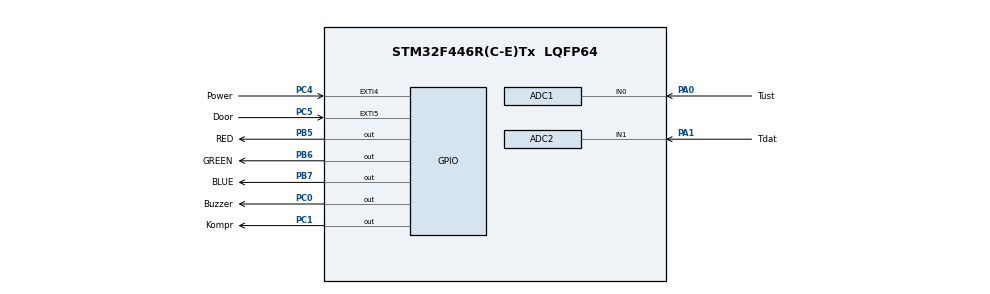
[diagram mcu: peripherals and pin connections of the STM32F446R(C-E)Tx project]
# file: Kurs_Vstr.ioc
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ADC1.Channel-0\#ChannelRegularConversion=ADC_CHANNEL_0
ADC1.NbrOfConversionFlag=1
ADC1.Rank-0\#ChannelRegularConversion=1
ADC1.SamplingTime-0\#ChannelRegularConversion=ADC_SAMPLETIME_3CYCLES
ADC1.master=1
ADC2.Channel-1\#ChannelRegularConversion=ADC_CHANNEL_1
ADC2.NbrOfConversionFlag=1
ADC2.Rank-1\#ChannelRegularConversion=1
ADC2.SamplingTime-1\#ChannelRegularConversion=ADC_SAMPLETIME_3CYCLES
Mcu.Family=STM32F4
Mcu.Name=STM32F446R(C-E)Tx
Mcu.Package=LQFP64
NVIC.ADC_IRQn=true\:0\:0\:false\:false\:true\:true\:true\:true
NVIC.EXTI4_IRQn=true\:0\:0\:false\:false\:true\:true\:true\:true
NVIC.EXTI9_5_IRQn=true\:0\:0\:false\:false\:true\:true\:true\:true
NVIC.PriorityGroup=NVIC_PRIORITYGROUP_4
NVIC.TIM2_IRQn=true\:0\:0\:false\:false\:true\:true\:true\:true
PA0-WKUP.GPIO_Label=Tust
PA0-WKUP.Signal=ADCx_IN0
PA1.GPIO_Label=Tdat
PA1.Signal=ADCx_IN1
PA13.Mode=Serial_Wire
PA13.Signal=SYS_JTMS-SWDIO
PA14.Mode=Serial_Wire
PA14.Signal=SYS_JTCK-SWCLK
PB5.GPIO_Label=RED
PB5.Signal=GPIO_Output
PB6.GPIO_Label=GREEN
PB6.Signal=GPIO_Output
PB7.GPIO_Label=BLUE
PB7.Signal=GPIO_Output
PC0.GPIO_Label=Buzzer
PC0.GPIO_PuPd=GPIO_NOPULL
PC0.Signal=GPIO_Output
PC1.GPIO_Label=Kompr
PC1.Signal=GPIO_Output
PC4.GPIO_Label=Power
PC4.GPIO_PuPd=GPIO_PULLDOWN
PC4.Signal=GPXTI4
PC5.GPIO_Label=Door
PC5.GPIO_PuPd=GPIO_PULLDOWN
PC5.Signal=GPXTI5
PH0-OSC_IN.Mode=HSE-External-Oscillator
PH0-OSC_IN.Signal=RCC_OSC_IN
PH1-OSC_OUT.Mode=HSE-External-Oscillator
PH1-OSC_OUT.Signal=RCC_OSC_OUT
ProjectManager.HeapSize=0x200
ProjectManager.StackSize=0x400
ProjectManager.TargetToolchain=STM32CubeIDE
RCC.CortexFreq_Value=16000000
RCC.USBFreq_Value=96000000
RCC.VCOOutputFreq_Value=192000000
SH.ADCx_IN0.0=ADC1_IN0,IN0
SH.ADCx_IN1.0=ADC2_IN1,IN1
TIM2.Channel-PWM\ Generation1\ No\ Output=TIM_CHANNEL_1
TIM2.Period=320
TIM2.Prescaler=50000
VP_TIM2_VS_no_output1.Mode=PWM Generation1 No Output
board=custom

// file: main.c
/* USER CODE BEGIN Header */
/**
  ******************************************************************************
  * @file           : main.c
  * @brief          : Main program body
  ******************************************************************************
  * @attention
  *
  * Copyright (c) 2024 STMicroelectronics.
  * All rights reserved.
  *
  * This software is licensed under terms that can be found in the LICENSE file
  * in the root directory of this software component.
  * If no LICENSE file comes with this software, it is provided AS-IS.
  *
  ******************************************************************************
  */
/* USER CODE END Header */
#include "main.h"
#include "adc.h"
#include "tim.h"
#include "gpio.h"

/* USER CODE BEGIN Includes */
#include "math.h"
/* USER CODE END Includes */

/* USER CODE BEGIN PV */
int32_t tpr = 0; // время открытой двери
int8_t Tzd = 0; // температура заданная
int8_t Tdt = 0; // температура с датчика
int8_t Tpr = 0; // температура за 10 секунд до проверки
float adc_Tdt = 0; // значение температуры с датчика на момент считывания
float adc_Tzd = 0; // значение заданной температуры на момент считывания
float adc_Tdt1 = 0; // значение температуры с датчика на момент считывания
float adc_Tzd1= 0; // значение заданной температуры на момент считывания
float adc_Tdt_rez = 0; // значение температуры с датчика после преобразования
float adc_Tzd_rez = 0; // значение заданной температуры после преобразования
float middle = 0; // выходное значение с фильтра для заданной температуры
float middle1 = 0; // выходное значение с фильтра для температуры с датчика
int32_t t = 0; // время работы установки
int8_t Kompr = 0; // состояние работы компрессора (0 - не работает, 1 - работает)
int8_t error_state = 0; // состояние ошибки (0 - ошибка отсутствует, 1 - ошибка присутствует)
int8_t door_state = 0; // состояние двери (0 - дверь открыта, 1 - дверь закрыта)
int8_t power_state = 0; // состояние установки (0 - установка выключена, 1 - установка включена)
int8_t prov = 0;
/* USER CODE END PV */

void SystemClock_Config(void);

/* USER CODE BEGIN 0 */
float  med_Tzd(float f) // медианный фильтр для значений с потенциометра для заданной температуры
{
	  static float buffer[3] = {0,0,0};
	  if (buffer[0] == 0 && buffer[1] == 0 && buffer[2] == 0) {
	    for (int i = 0; i < 3; i++) {
	      buffer[i] = f;
	    }
	  }

	  buffer[0] = buffer[1];
	  buffer[1] = buffer[2];
	  buffer[2] = f;

	  float a = buffer[0];
	  float b = buffer[1];
	  float c = buffer[2];
	  if ((a <= b) && (a <= c))
	  {
		  middle = (b <= c) ? b : c;
      }
	  else
	  {
	    if ((b <= a) && (b <= c))
	    {
	    	middle = (a <= c) ? a : c;
	    }
	    else
	    {
	    	middle = (a <= b) ? a : b;
	    }
	  }

	  return middle;
}

float med_Tdt(float f1) // медианный фильтр для значений с потенциометра для температуры с датчика
{
	  static float buffer1[3] = {0,0,0};
	  if (buffer1[0] == 0 && buffer1[1] == 0 && buffer1[2] == 0) {
	    for (int i1 = 0; i1 < 3; i1++) {
	      buffer1[i1] = f1;
	    }
	  }

	  buffer1[0] = buffer1[1];
	  buffer1[1] = buffer1[2];
	  buffer1[2] = f1;

	  float a1 = buffer1[0];
	  float b1 = buffer1[1];
	  float c1 = buffer1[2];
	  if ((a1 <= b1) && (a1 <= c1))
	  {
		  middle1 = (b1 <= c1) ? b1 : c1;
      }
	  else
	  {
	    if ((b1 <= a1) && (b1 <= c1))
	    {
	    	middle1 = (a1 <= c1) ? a1 : c1;
	    }
	    else
	    {
	    	middle1 = (a1 <= b1) ? a1 : b1;
	    }
	  }

	  return middle1;
}

void doorTest(int tpr) { // Проверка состояния открытой двери
	if (tpr > 15) {
	  	HAL_GPIO_WritePin(Buzzer_GPIO_Port, Buzzer_Pin, GPIO_PIN_SET);
	  	HAL_GPIO_WritePin(RED_GPIO_Port, RED_Pin, GPIO_PIN_RESET);
	  	HAL_GPIO_WritePin(GREEN_GPIO_Port, GREEN_Pin, GPIO_PIN_SET);
	  	HAL_GPIO_WritePin(BLUE_GPIO_Port, BLUE_Pin, GPIO_PIN_SET);
	  	Kompr = 0;
	  	HAL_GPIO_WritePin(Kompr_GPIO_Port, Kompr_Pin, GPIO_PIN_RESET);
	}
	else {
		HAL_GPIO_WritePin(RED_GPIO_Port, RED_Pin, GPIO_PIN_RESET);
		HAL_GPIO_WritePin(GREEN_GPIO_Port, GREEN_Pin, GPIO_PIN_SET);
	  	HAL_GPIO_WritePin(BLUE_GPIO_Port, BLUE_Pin, GPIO_PIN_SET);
	}
}

void tempTest(int8_t Tdt, int8_t Tpr) { // Проверка работоспособности датчика температуры
	if (Tdt < -7 || Tdt > 45) {
		error_state = 1;
	}
	if (abs(Tdt - Tpr) > 20 && t % 10 == 0 && t > 10) {
		error_state = 1;
	}
}
/* USER CODE END 0 */

int main(void)
{

  /* MCU Configuration--------------------------------------------------------*/

  /* Reset of all peripherals, Initializes the Flash interface and the Systick. */
  HAL_Init();

  /* Configure the system clock */
  SystemClock_Config();

  /* Initialize all configured peripherals */
  MX_GPIO_Init();
  MX_ADC1_Init();
  MX_ADC2_Init();
  MX_TIM2_Init();
  /* USER CODE BEGIN 2 */
  HAL_TIM_Base_Start_IT(&htim2);
  HAL_ADC_Start_IT(&hadc1);
  HAL_ADC_Start_IT(&hadc2);

  HAL_GPIO_WritePin(RED_GPIO_Port, RED_Pin, GPIO_PIN_RESET);
  HAL_GPIO_WritePin(GREEN_GPIO_Port, GREEN_Pin, GPIO_PIN_RESET);
  HAL_GPIO_WritePin(BLUE_GPIO_Port, BLUE_Pin, GPIO_PIN_RESET);
  HAL_GPIO_WritePin(Buzzer_GPIO_Port, Buzzer_Pin, GPIO_PIN_RESET);
  /* USER CODE END 2 */

  /* Infinite loop */
  /* USER CODE BEGIN WHILE */
  while (1)
  {
	  //power_state = HAL_GPIO_ReadPin(Power_GPIO_Port, Power_Pin);
	  //door_state = HAL_GPIO_ReadPin(Door_GPIO_Port, Door_Pin);

	  if (power_state)
	  {
		  if (error_state)
		  {
			  HAL_GPIO_WritePin(RED_GPIO_Port, RED_Pin, GPIO_PIN_SET);
			  HAL_GPIO_WritePin(GREEN_GPIO_Port, GREEN_Pin, GPIO_PIN_RESET);
			  HAL_GPIO_WritePin(BLUE_GPIO_Port, BLUE_Pin, GPIO_PIN_RESET);

			  HAL_GPIO_WritePin(Buzzer_GPIO_Port, Buzzer_Pin, GPIO_PIN_SET);
			  HAL_GPIO_WritePin(Kompr_GPIO_Port, Kompr_Pin, GPIO_PIN_RESET);
		  }
		  else if (tpr >= 3)
		  {
			  doorTest(tpr);
		  }
		  else if (tpr < 3)
		  {
			  HAL_ADC_Start_IT(&hadc1);
			  HAL_ADC_PollForConversion(&hadc1, 1);
			  adc_Tdt = HAL_ADC_GetValue(&hadc1);
			  adc_Tdt1 = adc_Tdt / 4095 * 60 - 10;
			  adc_Tdt_rez = med_Tdt(adc_Tdt1);
			  Tdt = (int8_t) adc_Tdt_rez;
			  HAL_ADC_Stop_IT(&hadc1);

			  HAL_ADC_Start_IT(&hadc2);
			  HAL_ADC_PollForConversion(&hadc2, 1);
			  adc_Tzd = HAL_ADC_GetValue(&hadc2);
			  adc_Tzd1 = adc_Tzd / 4095 * 60 - 10;
			  adc_Tzd_rez = med_Tzd(adc_Tzd1);
			  Tzd = (int8_t) adc_Tzd_rez;
			  HAL_ADC_Stop_IT(&hadc2);
			  //prov = abs(Tdt - Tzd);
			  if (abs(Tdt - Tzd) <= 2)
			  {
				  Kompr = 0;
				  HAL_GPIO_WritePin(Kompr_GPIO_Port, Kompr_Pin, GPIO_PIN_RESET);
				  HAL_GPIO_WritePin(RED_GPIO_Port, RED_Pin, GPIO_PIN_RESET);
				  HAL_GPIO_WritePin(GREEN_GPIO_Port, GREEN_Pin, GPIO_PIN_SET);
				  HAL_GPIO_WritePin(BLUE_GPIO_Port, BLUE_Pin, GPIO_PIN_RESET);
				  tempTest(Tdt, Tpr);
			  }
			  else if (abs(Tdt - Tzd) > 2)
			  {
				  Kompr = 1;
				  HAL_GPIO_WritePin(RED_GPIO_Port, RED_Pin, GPIO_PIN_RESET);
				  HAL_GPIO_WritePin(GREEN_GPIO_Port, GREEN_Pin, GPIO_PIN_RESET);
				  HAL_GPIO_WritePin(BLUE_GPIO_Port, BLUE_Pin, GPIO_PIN_SET);
				  if (Tdt - Tzd < 0)
				  {
					  HAL_GPIO_WritePin(Kompr_GPIO_Port, Kompr_Pin, GPIO_PIN_RESET);
				  }
				  else
				  {
					  HAL_GPIO_WritePin(Kompr_GPIO_Port, Kompr_Pin, GPIO_PIN_SET);
				  }
				  tempTest(Tdt, Tpr);
			  }
		  }
	  }
	  else
	  {
		  HAL_GPIO_WritePin(RED_GPIO_Port, RED_Pin, GPIO_PIN_RESET);
		  HAL_GPIO_WritePin(GREEN_GPIO_Port, GREEN_Pin, GPIO_PIN_RESET);
		  HAL_GPIO_WritePin(BLUE_GPIO_Port, BLUE_Pin, GPIO_PIN_RESET);
		  HAL_GPIO_WritePin(Buzzer_GPIO_Port, Buzzer_Pin, GPIO_PIN_RESET);
		  HAL_GPIO_WritePin(Kompr_GPIO_Port, Kompr_Pin, GPIO_PIN_RESET);
	  }

	  //if (adc_reg_value > 3200)
	  //{
	   //HAL_GPIO_WritePin(LED1_GPIO_Port, LED1_Pin, GPIO_PIN_SET);
	  // HAL_GPIO_WritePin(LED0_GPIO_Port, LED0_Pin, GPIO_PIN_RESET);
	   //pos = 2;
	  //}
	  //else
	  //{
	  //	HAL_GPIO_WritePin(LED0_GPIO_Port, LED0_Pin, GPIO_PIN_SET);
	  //	HAL_GPIO_WritePin(LED1_GPIO_Port, LED1_Pin, GPIO_PIN_RESET);
	  //	pos = 1;
	  //}
    /* USER CODE END WHILE */

  }
}

void SystemClock_Config(void)
{
  RCC_OscInitTypeDef RCC_OscInitStruct = {0};
  RCC_ClkInitTypeDef RCC_ClkInitStruct = {0};

  /** Configure the main internal regulator output voltage
  */
  __HAL_RCC_PWR_CLK_ENABLE();
  __HAL_PWR_VOLTAGESCALING_CONFIG(PWR_REGULATOR_VOLTAGE_SCALE3);

  /** Initializes the RCC Oscillators according to the specified parameters
  * in the RCC_OscInitTypeDef structure.
  */
  RCC_OscInitStruct.OscillatorType = RCC_OSCILLATORTYPE_HSI;
  RCC_OscInitStruct.HSIState = RCC_HSI_ON;
  RCC_OscInitStruct.HSICalibrationValue = RCC_HSICALIBRATION_DEFAULT;
  RCC_OscInitStruct.PLL.PLLState = RCC_PLL_NONE;
  if (HAL_RCC_OscConfig(&RCC_OscInitStruct) != HAL_OK)
  {
    Error_Handler();
  }

  /** Initializes the CPU, AHB and APB buses clocks
  */
  RCC_ClkInitStruct.ClockType = RCC_CLOCKTYPE_HCLK|RCC_CLOCKTYPE_SYSCLK
                              |RCC_CLOCKTYPE_PCLK1|RCC_CLOCKTYPE_PCLK2;
  RCC_ClkInitStruct.SYSCLKSource = RCC_SYSCLKSOURCE_HSI;
  RCC_ClkInitStruct.AHBCLKDivider = RCC_SYSCLK_DIV1;
  RCC_ClkInitStruct.APB1CLKDivider = RCC_HCLK_DIV1;
  RCC_ClkInitStruct.APB2CLKDivider = RCC_HCLK_DIV1;

  if (HAL_RCC_ClockConfig(&RCC_ClkInitStruct, FLASH_LATENCY_0) != HAL_OK)
  {
    Error_Handler();
  }
}

void Error_Handler(void)
{
  __disable_irq();
  while (1)
  {
  }
}
